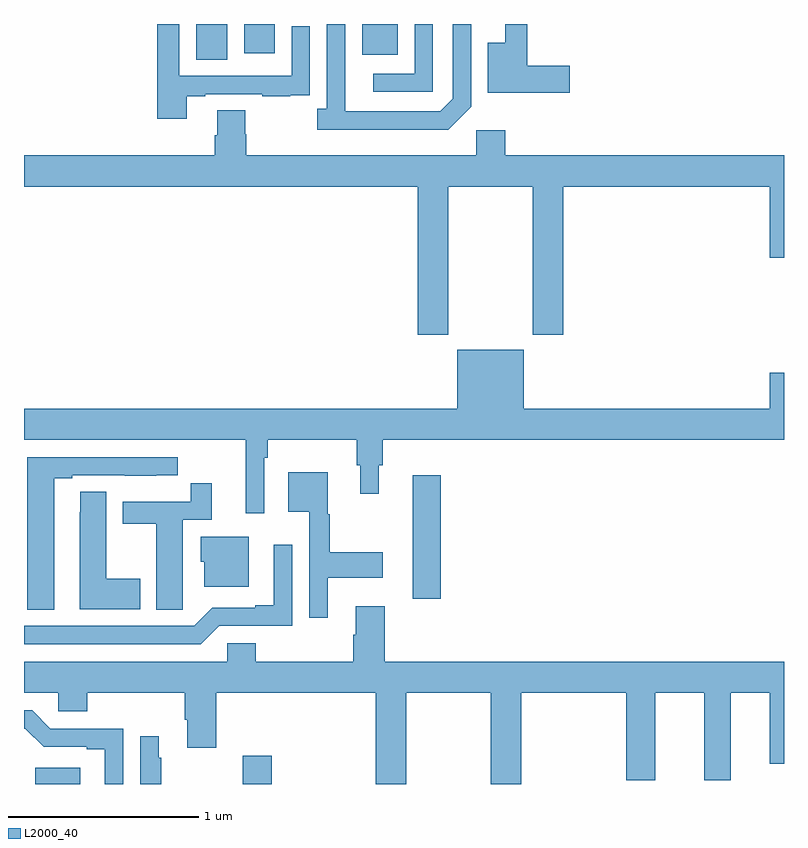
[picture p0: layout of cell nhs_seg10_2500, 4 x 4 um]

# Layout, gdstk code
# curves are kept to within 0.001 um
import gdstk
lib = gdstk.Library(unit=1e-6, precision=1e-09)
def R(c, l, rs):  # rectangles x0, y0, x1, y1
    for r in rs: c.add(gdstk.rectangle(r[:2], r[2:], *l))
def P(c, l, *ps):  # polygons
    for p in ps: c.add(gdstk.Polygon(p, *l))
L2000_40 = (2000, 40)

nhs_seg10_2500 = lib.new_cell('nhs_seg10_2500')
R(nhs_seg10_2500, L2000_40, [(245.06,1302.5,245.296,1302.586), (246.151,1302.5,246.305,1302.649), (247.046,1303.476,247.193,1304.125), (245.906,1306.312,246.07,1306.5), (246.779,1306.337,246.967,1306.5), (246.158,1306.347,246.319,1306.5)])
P(nhs_seg10_2500, L2000_40, [(247.353,1306.065),(247.353,1306.5),(247.257,1306.5),(247.257,1306.107),(247.191,1306.041),(246.691,1306.041),(246.69,1306.5),(246.594,1306.5),(246.594,1306.054),(246.543,1306.054),(246.543,1305.944),(247.232,1305.944)],
  [(247.873,1306.28),(247.649,1306.28),(247.649,1306.5),(247.532,1306.5),(247.532,1306.402),(247.442,1306.402),(247.442,1306.138),(247.873,1306.138)],
  [(245.857,1306.119),(245.953,1306.119),(245.953,1306.131),(246.253,1306.131),(246.253,1306.119),(246.401,1306.119),(246.401,1306.125),(246.503,1306.125),(246.503,1306.234),(246.504,1306.234),(246.504,1306.489),(246.408,1306.489),(246.408,1306.227),(245.817,1306.227),(245.817,1306.5),(245.701,1306.5),(245.701,1306.002),(245.857,1306.002)],
  [(247.152,1306.5),(247.056,1306.5),(247.056,1306.239),(246.837,1306.239),(246.837,1306.143),(247.152,1306.143)],
  [(247.233,1305.644),(247.678,1305.644),(247.678,1304.865),(247.838,1304.865),(247.838,1305.644),(248.924,1305.644),(248.924,1305.27),(249,1305.27),(249,1305.808),(247.532,1305.808),(247.532,1305.94),(247.38,1305.94),(247.38,1305.808),(246.17,1305.808),(246.17,1305.921),(246.165,1305.921),(246.165,1306.046),(246.017,1306.046),(246.017,1305.914),(246.005,1305.914),(246.005,1305.808),(245,1305.808),(245,1305.644),(247.073,1305.644),(247.073,1304.865),(247.233,1304.865)],
  [(246.264,1304.216),(246.284,1304.216),(246.284,1304.312),(246.751,1304.312),(246.751,1304.178),(246.77,1304.178),(246.77,1304.028),(246.868,1304.028),(246.868,1304.178),(246.887,1304.178),(246.887,1304.312),(249,1304.312),(249,1304.665),(248.924,1304.665),(248.924,1304.476),(247.63,1304.476),(247.63,1304.785),(247.28,1304.785),(247.28,1304.476),(245,1304.476),(245,1304.312),(246.167,1304.312),(246.167,1303.926),(246.264,1303.926)],
  [(245.158,1304.109),(245.254,1304.109),(245.254,1304.124),(245.53,1304.124),(245.53,1304.123),(245.696,1304.123),(245.696,1304.124),(245.809,1304.124),(245.809,1304.22),(245.018,1304.22),(245.018,1303.417),(245.158,1303.417)],
  [(246.598,1303.586),(246.889,1303.586),(246.889,1303.721),(246.61,1303.721),(246.61,1303.92),(246.598,1303.92),(246.598,1304.14),(246.392,1304.14),(246.392,1303.934),(246.501,1303.934),(246.501,1303.374),(246.598,1303.374)],
  [(245.835,1303.528),(245.836,1303.528),(245.836,1303.89),(245.987,1303.89),(245.987,1304.083),(245.878,1304.083),(245.878,1303.986),(245.519,1303.986),(245.519,1303.87),(245.696,1303.87),(245.696,1303.417),(245.835,1303.417)],
  [(245.611,1303.581),(245.434,1303.581),(245.434,1304.039),(245.295,1304.039),(245.295,1303.931),(245.294,1303.931),(245.294,1303.421),(245.611,1303.421)],
  [(246.184,1303.801),(245.93,1303.801),(245.93,1303.671),(245.948,1303.671),(245.948,1303.538),(246.184,1303.538)],
  [(246.027,1303.332),(246.411,1303.332),(246.411,1303.759),(246.314,1303.759),(246.314,1303.441),(246.218,1303.441),(246.218,1303.428),(245.991,1303.428),(245.895,1303.332),(245,1303.332),(245,1303.236),(245.931,1303.236)],
  [(247.011,1302.98),(247.456,1302.98),(247.456,1302.5),(247.616,1302.5),(247.616,1302.98),(248.171,1302.98),(248.171,1302.519),(248.323,1302.519),(248.323,1302.98),(248.579,1302.98),(248.579,1302.519),(248.719,1302.519),(248.719,1302.98),(248.924,1302.98),(248.924,1302.606),(249,1302.606),(249,1303.144),(246.899,1303.144),(246.899,1303.435),(246.746,1303.435),(246.746,1303.286),(246.734,1303.286),(246.734,1303.144),(246.221,1303.144),(246.221,1303.242),(246.069,1303.242),(246.069,1303.144),(245,1303.144),(245,1302.98),(245.181,1302.98),(245.181,1302.882),(245.333,1302.882),(245.333,1302.98),(245.846,1302.98),(245.846,1302.838),(245.858,1302.838),(245.858,1302.69),(246.011,1302.69),(246.011,1302.98),(246.851,1302.98),(246.851,1302.5),(247.011,1302.5)],
  [(245.523,1302.792),(245.139,1302.792),(245.043,1302.888),(245,1302.888),(245,1302.792),(245.007,1302.792),(245.103,1302.696),(245.33,1302.696),(245.33,1302.684),(245.426,1302.684),(245.426,1302.5),(245.523,1302.5)],
  [(245.722,1302.638),(245.71,1302.638),(245.71,1302.751),(245.613,1302.751),(245.613,1302.5),(245.722,1302.5)])

lib.write_gds('nhs_seg10_2500.gds')
